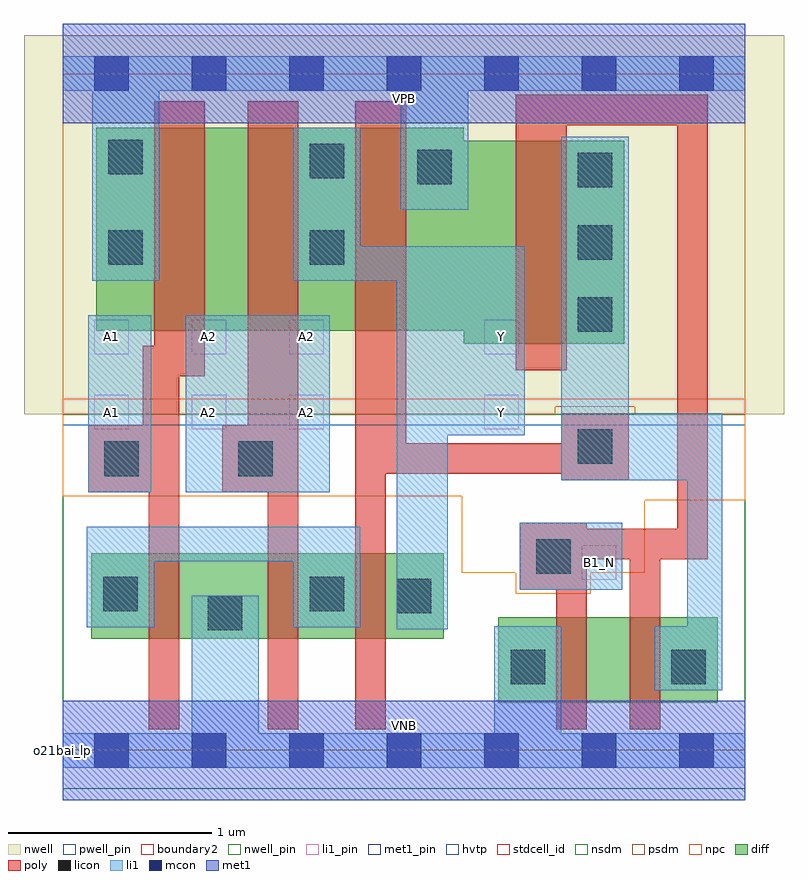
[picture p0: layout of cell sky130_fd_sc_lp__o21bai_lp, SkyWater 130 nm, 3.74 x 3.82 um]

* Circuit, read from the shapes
.subckt sky130_fd_sc_lp__o21bai_lp A1 A2 B1_N VGND VNB VPB VPWR Y
XM1 VGND A1 n1 VNB sky130_fd_pr__nfet_01v8 w=0.42 l=0.15
XM2 n1 A2 VGND VNB sky130_fd_pr__nfet_01v8 w=0.42 l=0.15
XM3 Y n2 n1 VNB sky130_fd_pr__nfet_01v8 w=0.42 l=0.15
XM4 n3 B1_N VGND VNB sky130_fd_pr__nfet_01v8 w=0.42 l=0.15
XM5 n2 B1_N n3 VNB sky130_fd_pr__nfet_01v8 w=0.42 l=0.15
XM6 n4 A1 VPWR VPB sky130_fd_pr__pfet_01v8_hvt w=1 l=0.25
XM7 Y A2 n4 VPB sky130_fd_pr__pfet_01v8_hvt w=1 l=0.25
XM8 VPWR n2 Y VPB sky130_fd_pr__pfet_01v8_hvt w=1 l=0.25
XM9 n2 B1_N VPWR VPB sky130_fd_pr__pfet_01v8_hvt w=1 l=0.25
.ends

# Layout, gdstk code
import gdstk
lib = gdstk.Library(unit=1e-6, precision=1e-09)
def R(c, l, rs):  # rectangles x0, y0, x1, y1
    for r in rs: c.add(gdstk.rectangle(r[:2], r[2:], *l))
def A(c, l, x, y, w, h, nx, ny, dx, dy):  # array of equal rectangles
    R(c, l, [(x+i*dx, y+j*dy, x+i*dx+w, y+j*dy+h) for i in range(nx) for j in range(ny)])
def P(c, l, *ps):  # polygons
    for p in ps: c.add(gdstk.Polygon(p, *l))
nwell_pin = (64, 16)
nwell = (64, 20)
diff = (65, 20)
poly = (66, 20)
licon = (66, 44)
li1_pin = (67, 16)
li1 = (67, 20)
mcon = (67, 44)
met1_pin = (68, 16)
met1 = (68, 20)
hvtp = (78, 44)
stdcell_id = (81, 4)
nsdm = (93, 44)
psdm = (94, 20)
npc = (95, 20)
pwell_pin = (122, 16)
boundary2 = (236, 0)

sky130_fd_sc_lp__o21bai_ = lib.new_cell('sky130_fd_sc_lp__o21bai_lp')
R(sky130_fd_sc_lp__o21bai_, nwell_pin, [(0,3.085,3.36,3.33)])
R(sky130_fd_sc_lp__o21bai_, nwell, [(-0.19,1.655,3.55,3.52)])
R(sky130_fd_sc_lp__o21bai_, diff, [(2.145,0.235,3.225,0.655), (0.14,0.55,1.875,0.97)])
P(sky130_fd_sc_lp__o21bai_, diff, [(2.765,3),(1.975,3),(1.975,3.065),(0.165,3.065),(0.165,2.065),(1.975,2.065),(1.975,2),(2.765,2)])
P(sky130_fd_sc_lp__o21bai_, poly, [(0.7,3.195),(0.45,3.195),(0.45,1.99),(0.395,1.99),(0.395,1.6),(0.125,1.6),(0.125,1.27),(0.425,1.27),(0.425,0.105),(0.575,0.105),(0.575,1.84),(0.7,1.84)],
  [(1.16,3.195),(0.91,3.195),(0.91,1.6),(0.785,1.6),(0.785,1.27),(1.01,1.27),(1.01,0.105),(1.16,0.105)],
  [(2.785,1.66),(2.455,1.66),(2.455,1.51),(1.69,1.51),(1.69,3.195),(1.44,3.195),(1.44,0.105),(1.59,0.105),(1.59,1.36),(2.455,1.36),(2.455,1.33),(2.785,1.33)],
  [(3.175,3.225),(2.23,3.225),(2.23,1.87),(2.48,1.87),(2.48,3.075),(3.025,3.075),(3.025,1.09),(2.58,1.09),(2.58,1.12),(2.25,1.12),(2.25,0.79),(2.43,0.79),(2.43,0.105),(2.58,0.105),(2.58,0.94),(2.79,0.94),(2.79,0.105),(2.94,0.105),(2.94,0.94),(3.175,0.94)])
A(sky130_fd_sc_lp__o21bai_, licon, 2.535, 2.06, 0.17, 0.17, 1, 3, 0, 0.355)
R(sky130_fd_sc_lp__o21bai_, licon, [(2.205,0.325,2.375,0.495), (2.995,0.325,3.165,0.495), (0.715,0.59,0.885,0.76), (1.645,0.675,1.815,0.845), (0.2,0.685,0.37,0.855), (1.215,0.685,1.385,0.855), (2.33,0.87,2.5,1.04), (0.205,1.35,0.375,1.52), (0.865,1.35,1.035,1.52), (2.535,1.41,2.705,1.58), (0.225,2.39,0.395,2.56), (1.215,2.39,1.385,2.56), (1.745,2.785,1.915,2.955), (1.215,2.815,1.385,2.985), (0.225,2.835,0.395,3.005)])
A(sky130_fd_sc_lp__o21bai_, li1_pin, 0.155, 1.58, 0.17, 0.17, 3, 2, 0.48, 0.37)
R(sky130_fd_sc_lp__o21bai_, li1_pin, [(2.555,0.84,2.725,1.01), (2.075,1.58,2.245,1.75), (2.075,1.95,2.245,2.12)])
R(sky130_fd_sc_lp__o21bai_, li1, [(2.25,0.79,2.755,1.12), (0.125,1.27,0.435,2.14), (0.605,1.27,1.315,2.14)])
P(sky130_fd_sc_lp__o21bai_, li1, [(0.145,2.31),(0.145,3.245),(0,3.245),(0,3.415),(3.36,3.415),(3.36,3.245),(1.995,3.245),(1.995,2.66),(1.665,2.66),(1.665,3.245),(0.475,3.245),(0.475,2.31)],
  [(2.125,0.085),(2.125,0.61),(2.455,0.61),(2.455,0.085),(3.36,0.085),(3.36,-0.085),(0,-0.085),(0,0.085),(0.635,0.085),(0.635,0.76),(0.965,0.76),(0.965,0.085)],
  [(1.465,2.48),(2.275,2.48),(2.275,1.55),(1.895,1.55),(1.895,0.595),(1.645,0.595),(1.645,2.31),(1.135,2.31),(1.135,3.065),(1.465,3.065)],
  [(1.135,0.93),(0.45,0.93),(0.45,0.605),(0.12,0.605),(0.12,1.1),(1.465,1.1),(1.465,0.605),(1.135,0.605)],
  [(2.455,1.33),(2.455,3.02),(2.785,3.02),(2.785,1.66),(3.245,1.66),(3.245,0.295),(2.915,0.295),(2.915,0.61),(3.075,0.61),(3.075,1.33)])
A(sky130_fd_sc_lp__o21bai_, mcon, 0.155, -0.085, 0.17, 0.17, 7, 2, 0.48, 3.33)
R(sky130_fd_sc_lp__o21bai_, met1_pin, [(0,0,3.36,0.245), (0,3.085,3.36,3.33)])
R(sky130_fd_sc_lp__o21bai_, met1, [(0,-0.245,3.36,0.245), (0,3.085,3.36,3.575)])
R(sky130_fd_sc_lp__o21bai_, hvtp, [(0,1.6,3.36,3.33)])
R(sky130_fd_sc_lp__o21bai_, stdcell_id, [(0,0,3.36,3.33)])
R(sky130_fd_sc_lp__o21bai_, nsdm, [(0,-0.19,3.36,1.655)])
P(sky130_fd_sc_lp__o21bai_, psdm, [(3.36,3.52),(0,3.52),(0,1.655),(2.425,1.655),(2.425,1.69),(2.815,1.69),(2.815,1.655),(3.36,1.655)])
P(sky130_fd_sc_lp__o21bai_, npc, [(3.36,1.73),(0,1.73),(0,1.25),(1.965,1.25),(1.965,0.875),(2.23,0.875),(2.23,0.77),(2.6,0.77),(2.6,0.875),(2.865,0.875),(2.865,1.23),(3.36,1.23)])
R(sky130_fd_sc_lp__o21bai_, pwell_pin, [(0,0,3.36,0.245)])
R(sky130_fd_sc_lp__o21bai_, boundary2, [(0,0,3.36,3.33)])
sky130_fd_sc_lp__o21bai_.add(gdstk.Label('VNB', (1.68,0.123), layer=64, texttype=59))
sky130_fd_sc_lp__o21bai_.add(gdstk.Label('VPB', (1.68,3.208), layer=64, texttype=5))
sky130_fd_sc_lp__o21bai_.add(gdstk.Label('o21bai_lp', (0,0), layer=83, texttype=44))
sky130_fd_sc_lp__o21bai_.add(gdstk.Label('VGND', (1.68,0.123), layer=68, texttype=5))
sky130_fd_sc_lp__o21bai_.add(gdstk.Label('VPWR', (1.68,3.208), layer=68, texttype=5))
sky130_fd_sc_lp__o21bai_.add(gdstk.Label('B1_N', (2.64,0.925), layer=67, texttype=5))
sky130_fd_sc_lp__o21bai_.add(gdstk.Label('Y', (2.16,1.665), layer=67, texttype=5))
sky130_fd_sc_lp__o21bai_.add(gdstk.Label('Y', (2.16,2.035), layer=67, texttype=5))
sky130_fd_sc_lp__o21bai_.add(gdstk.Label('A2', (0.72,1.665), layer=67, texttype=5))
sky130_fd_sc_lp__o21bai_.add(gdstk.Label('A1', (0.24,1.665), layer=67, texttype=5))
sky130_fd_sc_lp__o21bai_.add(gdstk.Label('A2', (1.2,1.665), layer=67, texttype=5))
sky130_fd_sc_lp__o21bai_.add(gdstk.Label('A2', (1.2,2.035), layer=67, texttype=5))
sky130_fd_sc_lp__o21bai_.add(gdstk.Label('A2', (0.72,2.035), layer=67, texttype=5))
sky130_fd_sc_lp__o21bai_.add(gdstk.Label('A1', (0.24,2.035), layer=67, texttype=5))

lib.write_gds('sky130_fd_sc_lp__o21bai_lp.gds')
